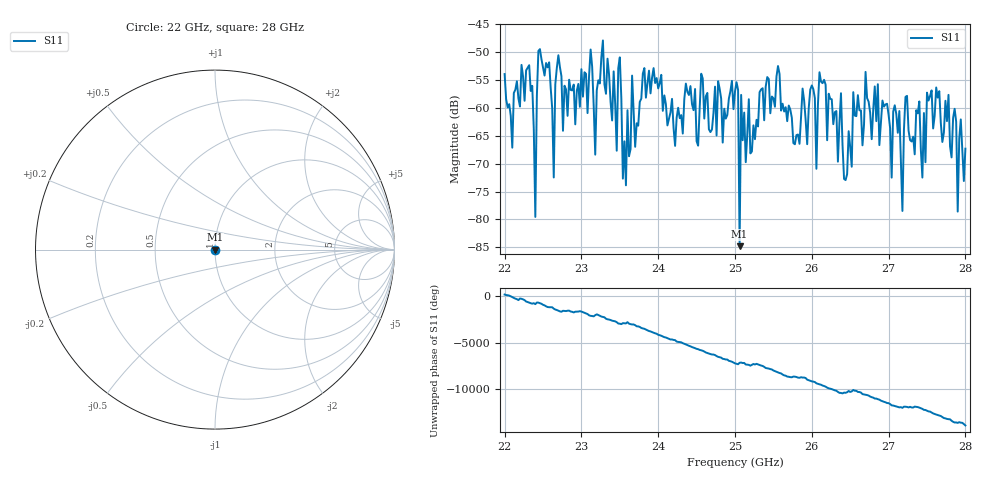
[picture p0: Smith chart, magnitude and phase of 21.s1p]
#  HZ  S  RI  R  50.00
! Rohde & Schwarz ZVA40 4Ports - Version 3.90 - 1145.1110k42 SN: 100403
! Date: 2023-10-04 07:01:06
! Measurement: S12
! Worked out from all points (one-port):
!   301 points, 22 GHz to 28 GHz, reference 50 ohm
!   lowest |S11| = -84.8 dB at 25.06 GHz (marker M1), VSWR 1.00, Z = 50 + j0.00314 ohm
!   |S11| at or under -10 dB: start of sweep to end of sweep
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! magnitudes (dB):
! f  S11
! 22 GHz  -53.9
! 22.1 GHz  -67.1
! 22.32 GHz  -52.3
! 22.4 GHz  -79.5
! 22.44 GHz  -49.8
! 22.58 GHz  -51.8
! 22.64 GHz  -72.5
! 22.7 GHz  -50.5
! 22.76 GHz  -64.1
! 23.12 GHz  -49.5
! 23.18 GHz  -68.4
! 23.28 GHz  -47.9
! 23.46 GHz  -67.7
! 23.5 GHz  -50.9
! 23.58 GHz  -73.9
! 23.66 GHz  -54.2
! 24.26 GHz  -60.0
! 25 GHz  -57.0
! 25.04 GHz  -56.7
! 25.06 GHz  -84.8
! 25.08 GHz  -57.7
! 25.76 GHz  -66.3
! 26.5 GHz  -67.0
! 26.86 GHz  -55.7
! 27.14 GHz  -60.5
! 27.18 GHz  -78.5
! 27.26 GHz  -64.1
! 28 GHz  -67.3
